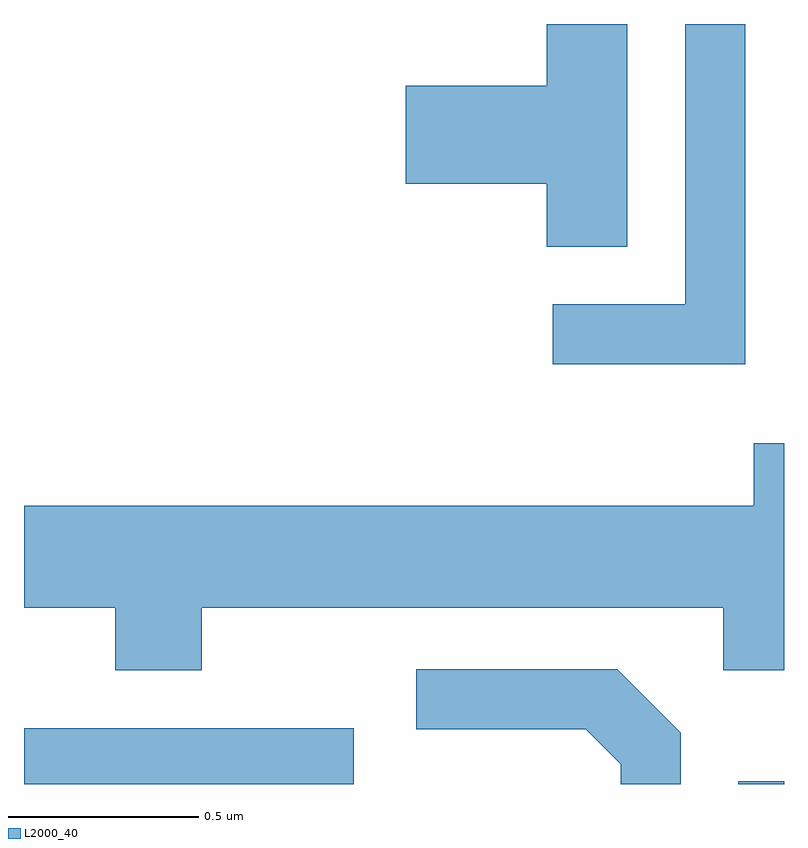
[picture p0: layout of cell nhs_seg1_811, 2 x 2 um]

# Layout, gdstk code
import gdstk
lib = gdstk.Library(unit=1e-6, precision=1e-09)
def R(c, l, rs):  # rectangles x0, y0, x1, y1
    for r in rs: c.add(gdstk.rectangle(r[:2], r[2:], *l))
def P(c, l, *ps):  # polygons
    for p in ps: c.add(gdstk.Polygon(p, *l))
L2000_40 = (2000, 40)

nhs_seg1_811 = lib.new_cell('nhs_seg1_811')
R(nhs_seg1_811, L2000_40, [(190.611,965.712,191.479,965.859), (192.491,965.712,192.611,965.719)])
P(nhs_seg1_811, L2000_40, [(192.509,967.712),(192.351,967.712),(192.351,966.974),(192.003,966.974),(192.003,966.816),(192.509,966.816)],
  [(192.199,967.712),(191.986,967.712),(191.986,967.549),(191.616,967.549),(191.616,967.291),(191.986,967.291),(191.986,967.126),(192.199,967.126)],
  [(191.079,966.176),(192.451,966.176),(192.451,966.011),(192.611,966.011),(192.611,966.609),(192.531,966.609),(192.531,966.444),(190.611,966.444),(190.611,966.176),(190.851,966.176),(190.851,966.011),(191.079,966.011)],
  [(192.339,965.847),(192.172,966.014),(191.643,966.014),(191.643,965.856),(192.089,965.856),(192.181,965.764),(192.181,965.712),(192.339,965.712)])

lib.write_gds('nhs_seg1_811.gds')
